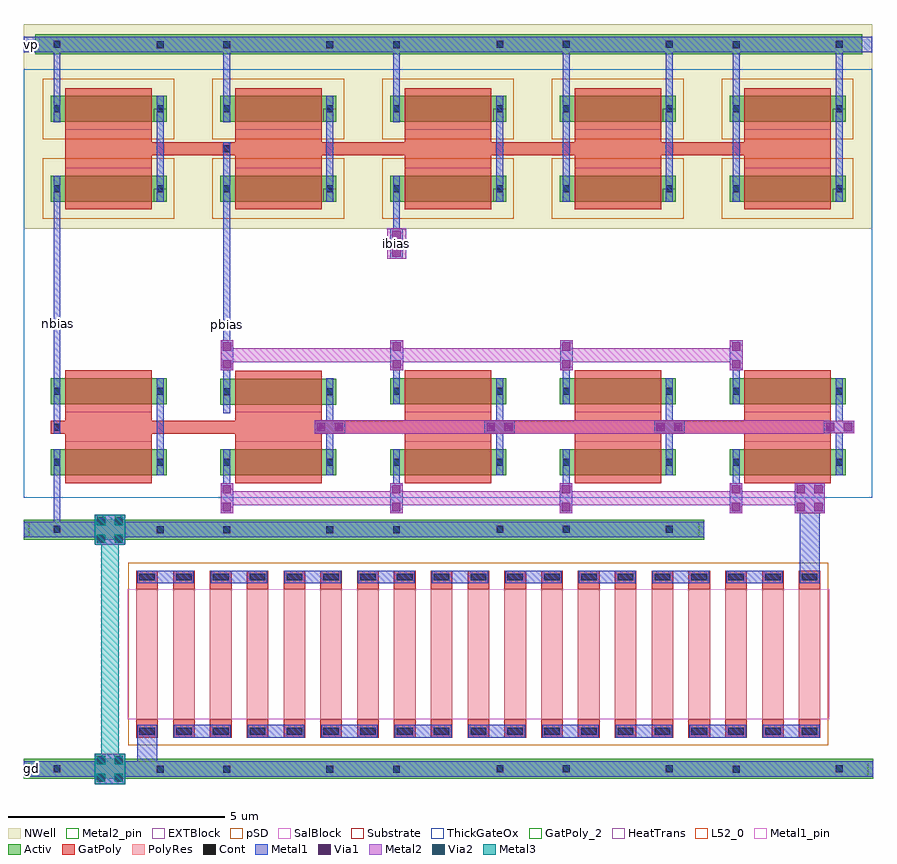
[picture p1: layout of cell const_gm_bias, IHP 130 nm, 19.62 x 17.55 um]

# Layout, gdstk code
import gdstk
lib = gdstk.Library(unit=1e-6, precision=1e-09)
def R(c, l, rs):  # rectangles x0, y0, x1, y1
    for r in rs: c.add(gdstk.rectangle(r[:2], r[2:], *l))
def A(c, l, x, y, w, h, nx, ny, dx, dy):  # array of equal rectangles
    R(c, l, [(x+i*dx, y+j*dy, x+i*dx+w, y+j*dy+h) for i in range(nx) for j in range(ny)])
Activ = (1, 0)
GatPoly = (5, 0)
GatPoly_2 = (5, 2)
Cont = (6, 0)
Metal1 = (8, 0)
Metal1_pin = (8, 2)
Metal2 = (10, 0)
Metal2_pin = (10, 2)
pSD = (14, 0)
Via1 = (19, 0)
SalBlock = (28, 0)
Via2 = (29, 0)
Metal3 = (30, 0)
NWell = (31, 0)
Substrate = (40, 0)
ThickGateOx = (44, 0)
HeatTrans = (51, 0)
L52_0 = (52, 0)
EXTBlock = (111, 0)
PolyRes = (128, 0)

via_stack_2_1 = lib.new_cell('via_stack$2$1')
R(via_stack_2_1, Metal1, [(-0.35,-0.35,0.35,0.35)])
R(via_stack_2_1, Metal2, [(-0.35,-0.35,0.35,0.35)])
R(via_stack_2_1, Via1, [(-0.3,-0.3,-0.11,-0.11), (0.11,-0.3,0.3,-0.11), (-0.3,0.11,-0.11,0.3), (0.11,0.11,0.3,0.3)])
R(via_stack_2_1, Via2, [(-0.3,-0.3,-0.11,-0.11), (0.11,-0.3,0.3,-0.11), (-0.3,0.11,-0.11,0.3), (0.11,0.11,0.3,0.3)])
R(via_stack_2_1, Metal3, [(-0.35,-0.35,0.35,0.35)])

rppd_2 = lib.new_cell('rppd$2')
A(rppd_2, GatPoly, 0, -0.43, 0.5, 0.23, 19, 2, 0.85, 3.63)
A(rppd_2, GatPoly, 0, -0.2, 0.5, 0.2, 19, 2, 0.85, 3.2)
A(rppd_2, Cont, 0.07, -0.36, 0.36, 0.16, 19, 2, 0.85, 3.56)
A(rppd_2, Metal1, 0.02, -0.43, 0.46, 0.3, 19, 2, 0.85, 3.56)
A(rppd_2, Metal1, 0.87, -0.43, 1.31, 0.3, 9, 1, 1.7, 0)
A(rppd_2, Metal1, 0.02, 3.13, 1.31, 0.3, 9, 1, 1.7, 0)
A(rppd_2, Metal1_pin, 0.02, -0.43, 0.46, 0.3, 19, 2, 0.85, 3.56)
A(rppd_2, pSD, -0.18, -0.61, 0.86, 0.61, 19, 2, 0.85, 3.61)
A(rppd_2, pSD, -0.18, 0, 0.86, 3, 19, 1, 0.85, 0)
A(rppd_2, SalBlock, -0.2, 0, 0.9, 3, 19, 1, 0.85, 0)
A(rppd_2, L52_0, 0, 0, 0.5, 3, 19, 1, 0.85, 0)
A(rppd_2, EXTBlock, -0.18, -0.61, 0.86, 0.61, 19, 2, 0.85, 3.61)
A(rppd_2, EXTBlock, -0.2, 0, 0.9, 3, 19, 1, 0.85, 0)
A(rppd_2, PolyRes, 0, 0, 0.5, 3, 19, 1, 0.85, 0)
rppd_2.add(gdstk.Label('rppd r=1681.502', (0.25,1.5), layer=63, texttype=0))
rppd_2.add(gdstk.Label('rppd r=1681.502', (0.25,1.5), layer=63, texttype=0))
rppd_2.add(gdstk.Label('rppd r=1681.502', (0.25,1.5), layer=63, texttype=0))
rppd_2.add(gdstk.Label('rppd r=1681.502', (0.25,1.5), layer=63, texttype=0))
rppd_2.add(gdstk.Label('rppd r=1681.502', (0.25,1.5), layer=63, texttype=0))
rppd_2.add(gdstk.Label('rppd r=1681.502', (0.25,1.5), layer=63, texttype=0))
rppd_2.add(gdstk.Label('rppd r=1681.502', (0.25,1.5), layer=63, texttype=0))
rppd_2.add(gdstk.Label('rppd r=1681.502', (0.25,1.5), layer=63, texttype=0))
rppd_2.add(gdstk.Label('rppd r=1681.502', (0.25,1.5), layer=63, texttype=0))
rppd_2.add(gdstk.Label('rppd r=1681.502', (0.25,1.5), layer=63, texttype=0))
rppd_2.add(gdstk.Label('rppd r=1681.502', (0.25,1.5), layer=63, texttype=0))
rppd_2.add(gdstk.Label('rppd r=1681.502', (0.25,1.5), layer=63, texttype=0))
rppd_2.add(gdstk.Label('rppd r=1681.502', (0.25,1.5), layer=63, texttype=0))
rppd_2.add(gdstk.Label('rppd r=1681.502', (0.25,1.5), layer=63, texttype=0))
rppd_2.add(gdstk.Label('rppd r=1681.502', (0.25,1.5), layer=63, texttype=0))
rppd_2.add(gdstk.Label('rppd r=1681.502', (0.25,1.5), layer=63, texttype=0))
rppd_2.add(gdstk.Label('rppd r=1681.502', (0.25,1.5), layer=63, texttype=0))
rppd_2.add(gdstk.Label('rppd r=1681.502', (0.25,1.5), layer=63, texttype=0))
rppd_2.add(gdstk.Label('rppd r=1681.502', (0.25,1.5), layer=63, texttype=0))
rppd_2.add(gdstk.Label('rppd', (0.25,1.5), layer=52, texttype=0))
rppd_2.add(gdstk.Label('rppd', (1.1,1.5), layer=52, texttype=0))
rppd_2.add(gdstk.Label('rppd', (1.95,1.5), layer=52, texttype=0))
rppd_2.add(gdstk.Label('rppd', (2.8,1.5), layer=52, texttype=0))
rppd_2.add(gdstk.Label('rppd', (3.65,1.5), layer=52, texttype=0))
rppd_2.add(gdstk.Label('rppd', (4.5,1.5), layer=52, texttype=0))
rppd_2.add(gdstk.Label('rppd', (5.35,1.5), layer=52, texttype=0))
rppd_2.add(gdstk.Label('rppd', (6.2,1.5), layer=52, texttype=0))
rppd_2.add(gdstk.Label('rppd', (7.05,1.5), layer=52, texttype=0))
rppd_2.add(gdstk.Label('rppd', (7.9,1.5), layer=52, texttype=0))
rppd_2.add(gdstk.Label('rppd', (8.75,1.5), layer=52, texttype=0))
rppd_2.add(gdstk.Label('rppd', (9.6,1.5), layer=52, texttype=0))
rppd_2.add(gdstk.Label('rppd', (10.45,1.5), layer=52, texttype=0))
rppd_2.add(gdstk.Label('rppd', (11.3,1.5), layer=52, texttype=0))
rppd_2.add(gdstk.Label('rppd', (12.15,1.5), layer=52, texttype=0))
rppd_2.add(gdstk.Label('rppd', (13,1.5), layer=52, texttype=0))
rppd_2.add(gdstk.Label('rppd', (13.85,1.5), layer=52, texttype=0))
rppd_2.add(gdstk.Label('rppd', (14.7,1.5), layer=52, texttype=0))
rppd_2.add(gdstk.Label('rppd', (15.55,1.5), layer=52, texttype=0))

via_stack_4 = lib.new_cell('via_stack$4')
R(via_stack_4, Metal1, [(-0.145,-0.35,0.145,0.35)])
R(via_stack_4, Metal2, [(-0.145,-0.35,0.145,0.35)])
R(via_stack_4, Via1, [(-0.095,-0.3,0.095,-0.11), (-0.095,0.11,0.095,0.3)])

pmoshv_1 = lib.new_cell('pmosHV$1')
R(pmoshv_1, Activ, [(0,0,0.3,0.3), (0,0,2.68,0.6), (2.38,0,2.68,0.3)])
R(pmoshv_1, GatPoly, [(0.34,-0.18,2.34,0.78)])
R(pmoshv_1, GatPoly_2, [(0.34,-0.18,2.34,0.78)])
R(pmoshv_1, Cont, [(0.07,0.22,0.23,0.38), (2.45,0.22,2.61,0.38)])
R(pmoshv_1, Metal1, [(0.07,0,0.23,0.6), (2.45,0,2.61,0.6)])
R(pmoshv_1, Metal1_pin, [(0.07,0,0.23,0.6), (2.45,0,2.61,0.6)])
R(pmoshv_1, pSD, [(-0.18,-0.4,2.86,1)])
R(pmoshv_1, NWell, [(-0.62,-0.62,3.3,1.22)])
R(pmoshv_1, Substrate, [(2.38,0,2.68,0.3)])
R(pmoshv_1, ThickGateOx, [(-0.62,-0.62,3.3,1.22)])
R(pmoshv_1, HeatTrans, [(0.34,-0.18,2.34,0.78)])
pmoshv_1.add(gdstk.Label('pmosHV', (1.34,0.3), layer=63, texttype=0))
pmoshv_1.add(gdstk.Label('pmos', (1.34,0.3), layer=51, texttype=0))

nmoshv_1_1 = lib.new_cell('nmosHV$1$1')
R(nmoshv_1_1, Activ, [(0,0,0.3,0.3), (0,0,2.68,0.6), (2.38,0,2.68,0.3)])
R(nmoshv_1_1, GatPoly, [(0.34,-0.18,2.34,0.78)])
R(nmoshv_1_1, GatPoly_2, [(0.34,-0.18,2.34,0.78)])
R(nmoshv_1_1, Cont, [(0.07,0.22,0.23,0.38), (2.45,0.22,2.61,0.38)])
R(nmoshv_1_1, Metal1, [(0.07,0,0.23,0.6), (2.45,0,2.61,0.6)])
R(nmoshv_1_1, Metal1_pin, [(0.07,0,0.23,0.6), (2.45,0,2.61,0.6)])
R(nmoshv_1_1, ThickGateOx, [(-0.27,-0.52,2.95,1.12)])
R(nmoshv_1_1, HeatTrans, [(0.34,-0.18,2.34,0.78)])
nmoshv_1_1.add(gdstk.Label('nmosHV', (1.34,0.3), layer=63, texttype=0))
nmoshv_1_1.add(gdstk.Label('nmosHV', (1.34,0.3), layer=51, texttype=0))

nmoshv_1 = lib.new_cell('nmosHV$1')
R(nmoshv_1, Activ, [(0,0,0.3,0.3), (0,0,2.68,0.6), (2.38,0,2.68,0.3)])
R(nmoshv_1, GatPoly, [(0.34,-0.18,2.34,0.78)])
R(nmoshv_1, GatPoly_2, [(0.34,-0.18,2.34,0.78)])
R(nmoshv_1, Cont, [(0.07,0.22,0.23,0.38), (2.45,0.22,2.61,0.38)])
R(nmoshv_1, Metal1, [(0.07,0,0.23,0.6), (2.45,0,2.61,0.6)])
R(nmoshv_1, Metal1_pin, [(0.07,0,0.23,0.6), (2.45,0,2.61,0.6)])
R(nmoshv_1, ThickGateOx, [(-0.27,-0.52,2.95,1.12)])
R(nmoshv_1, HeatTrans, [(0.34,-0.18,2.34,0.78)])
nmoshv_1.add(gdstk.Label('nmosHV', (1.34,0.3), layer=63, texttype=0))
nmoshv_1.add(gdstk.Label('nmosHV', (1.34,0.3), layer=51, texttype=0))

via_stack_1_1 = lib.new_cell('via_stack$1$1')
R(via_stack_1_1, Metal1, [(-0.35,-0.35,0.35,0.35)])
R(via_stack_1_1, Metal2, [(-0.35,-0.35,0.35,0.35)])
R(via_stack_1_1, Via1, [(-0.3,-0.3,-0.11,-0.11), (0.11,-0.3,0.3,-0.11), (-0.3,0.11,-0.11,0.3), (0.11,0.11,0.3,0.3)])

via_stack_4_1 = lib.new_cell('via_stack$4$1')
R(via_stack_4_1, Metal1, [(-0.35,-0.145,0.35,0.145)])
R(via_stack_4_1, Metal2, [(-0.35,-0.145,0.35,0.145)])
R(via_stack_4_1, Via1, [(-0.3,-0.095,-0.11,0.095), (0.11,-0.095,0.3,0.095)])

const_gm_bias = lib.new_cell('const_gm_bias')
R(const_gm_bias, Cont, [(3.07,0.18,3.23,0.34), (8.53,0.18,8.69,0.34), (4.61,0.185,4.77,0.345), (6.99,0.185,7.15,0.345), (16.37,0.185,16.53,0.345), (0.69,0.19,0.85,0.35), (10.92,0.19,11.08,0.35), (12.45,0.19,12.61,0.35), (14.83,0.19,14.99,0.35), (18.75,0.19,18.91,0.35), (3.07,5.71,3.23,5.87), (8.53,5.71,8.69,5.87), (4.61,5.715,4.77,5.875), (6.99,5.715,7.15,5.875), (0.69,5.72,0.85,5.88), (10.92,5.72,11.08,5.88), (12.45,5.72,12.61,5.88), (14.83,5.72,14.99,5.88), (0.69,8.08,0.85,8.24), (4.61,14.505,4.77,14.665), (3.07,16.91,3.23,17.07), (8.53,16.91,8.69,17.07), (4.61,16.915,4.77,17.075), (6.99,16.915,7.15,17.075), (16.37,16.915,16.53,17.075), (0.69,16.92,0.85,17.08), (10.92,16.92,11.08,17.08), (12.45,16.92,12.61,17.08), (14.83,16.92,14.99,17.08), (18.75,16.92,18.91,17.08)])
R(const_gm_bias, Metal1_pin, [(0,0.09,0.36,0.45), (0,16.82,0.36,17.18)])
R(const_gm_bias, Metal2, [(8.39,12.045,8.83,12.745)])
R(const_gm_bias, Metal2_pin, [(8.39,12.045,8.83,12.745)])
R(const_gm_bias, NWell, [(0,12.745,19.6,17.47)])
R(const_gm_bias, ThickGateOx, [(0,6.53,19.6,16.43)])
const_gm_bias.add(gdstk.FlexPath([(7.07,7.05),(7.07,9.29)], 0.16, ends="flush", simple_path=True, layer=8, datatype=0))  # Metal1
const_gm_bias.add(gdstk.FlexPath([(10.99,7.05),(10.99,9.29)], 0.16, ends="flush", simple_path=True, layer=8, datatype=0))  # Metal1
const_gm_bias.add(gdstk.FlexPath([(4.69,7.05),(4.69,6.52)], 0.16, ends="flush", simple_path=True, layer=8, datatype=0))  # Metal1
const_gm_bias.add(gdstk.FlexPath([(8.61,7.05),(8.61,6.52)], 0.16, ends="flush", simple_path=True, layer=8, datatype=0))  # Metal1
const_gm_bias.add(gdstk.FlexPath([(12.53,7.05),(12.53,6.52)], 0.16, ends="flush", simple_path=True, layer=8, datatype=0))  # Metal1
const_gm_bias.add(gdstk.FlexPath([(18.15,4.85),(18.15,6.52)], 0.46, ends="flush", simple_path=True, layer=8, datatype=0))  # Metal1
const_gm_bias.add(gdstk.FlexPath([(14.91,7.05),(14.91,9.29)], 0.16, ends="flush", simple_path=True, layer=8, datatype=0))  # Metal1
const_gm_bias.add(gdstk.FlexPath([(16.45,7.05),(16.45,6.52)], 0.16, ends="flush", simple_path=True, layer=8, datatype=0))  # Metal1
const_gm_bias.add(gdstk.FlexPath([(18.83,7.05),(18.83,9.29)], 0.16, ends="flush", simple_path=True, layer=8, datatype=0))  # Metal1
const_gm_bias.add(gdstk.FlexPath([(0,5.795),(15.72,5.795)], 0.36, ends="flush", simple_path=True, layer=8, datatype=0))  # Metal1
const_gm_bias.add(gdstk.FlexPath([(8.61,9.29),(8.61,10.17)], 0.16, ends="flush", simple_path=True, layer=8, datatype=0))  # Metal1
const_gm_bias.add(gdstk.FlexPath([(12.53,9.29),(12.53,10.17)], 0.16, ends="flush", simple_path=True, layer=8, datatype=0))  # Metal1
const_gm_bias.add(gdstk.FlexPath([(16.45,9.29),(16.45,10.17)], 0.16, ends="flush", simple_path=True, layer=8, datatype=0))  # Metal1
const_gm_bias.add(gdstk.FlexPath([(3.15,7.65),(3.15,8.69)], 0.16, ends="flush", simple_path=True, layer=8, datatype=0))  # Metal1
const_gm_bias.add(gdstk.FlexPath([(0.77,7.35),(0.77,5.795)], 0.16, ends="flush", simple_path=True, layer=8, datatype=0))  # Metal1
const_gm_bias.add(gdstk.FlexPath([(0.77,8.01),(0.77,13.97)], 0.16, ends="flush", simple_path=True, layer=8, datatype=0))  # Metal1
const_gm_bias.add(gdstk.FlexPath([(14.91,17.18),(14.91,13.965)], 0.16, ends="flush", simple_path=True, layer=8, datatype=0))  # Metal1
const_gm_bias.add(gdstk.FlexPath([(18.83,17.18),(18.83,13.965)], 0.16, ends="flush", simple_path=True, layer=8, datatype=0))  # Metal1
const_gm_bias.add(gdstk.FlexPath([(8.61,13.37),(8.61,12.18)], 0.16, ends="flush", simple_path=True, layer=8, datatype=0))  # Metal1
const_gm_bias.add(gdstk.FlexPath([(7.07,15.21),(7.07,13.97)], 0.16, ends="flush", simple_path=True, layer=8, datatype=0))  # Metal1
const_gm_bias.add(gdstk.FlexPath([(3.15,15.21),(3.15,13.97)], 0.16, ends="flush", simple_path=True, layer=8, datatype=0))  # Metal1
const_gm_bias.add(gdstk.FlexPath([(10.99,15.21),(10.99,13.97)], 0.16, ends="flush", simple_path=True, layer=8, datatype=0))  # Metal1
const_gm_bias.add(gdstk.FlexPath([(0,17),(19.6,17)], 0.36, ends="flush", simple_path=True, layer=8, datatype=0))  # Metal1
const_gm_bias.add(gdstk.FlexPath([(0.77,15.205),(0.77,17.18)], 0.16, ends="flush", simple_path=True, layer=8, datatype=0))  # Metal1
const_gm_bias.add(gdstk.FlexPath([(4.69,15.205),(4.69,17.18)], 0.16, ends="flush", simple_path=True, layer=8, datatype=0))  # Metal1
const_gm_bias.add(gdstk.FlexPath([(8.61,15.205),(8.61,17.18)], 0.16, ends="flush", simple_path=True, layer=8, datatype=0))  # Metal1
const_gm_bias.add(gdstk.FlexPath([(12.53,13.365),(12.53,17.18)], 0.16, ends="flush", simple_path=True, layer=8, datatype=0))  # Metal1
const_gm_bias.add(gdstk.FlexPath([(16.45,13.365),(16.45,17.18)], 0.16, ends="flush", simple_path=True, layer=8, datatype=0))  # Metal1
const_gm_bias.add(gdstk.FlexPath([(4.69,13.965),(4.69,14.735)], 0.16, ends="flush", simple_path=True, layer=8, datatype=0))  # Metal1
const_gm_bias.add(gdstk.FlexPath([(4.69,8.48),(4.69,13.97)], 0.16, ends="flush", simple_path=True, layer=8, datatype=0))  # Metal1
const_gm_bias.add(gdstk.FlexPath([(2.85,1.14),(2.85,0.27)], 0.46, ends="flush", simple_path=True, layer=8, datatype=0))  # Metal1
const_gm_bias.add(gdstk.FlexPath([(0,0.27),(19.62,0.27)], 0.36, ends="flush", simple_path=True, layer=8, datatype=0))  # Metal1
const_gm_bias.add(gdstk.FlexPath([(18.15,6.52),(4.545,6.52)], 0.32, ends="flush", simple_path=True, layer=10, datatype=0))  # Metal2
const_gm_bias.add(gdstk.FlexPath([(18.48,8.165),(6.72,8.165)], 0.32, ends="flush", simple_path=True, layer=10, datatype=0))  # Metal2
const_gm_bias.add(gdstk.FlexPath([(4.55,9.82),(16.6,9.82)], 0.32, ends="flush", simple_path=True, layer=10, datatype=0))  # Metal2
const_gm_bias.add(gdstk.FlexPath([(1.99,0.27),(1.99,5.585)], 0.4, ends="flush", simple_path=True, layer=30, datatype=0))  # Metal3
const_gm_bias.add(gdstk.FlexPath([(1.96,8.99),(1.96,7.35)], 2, ends="flush", simple_path=True, layer=5, datatype=0))  # GatPoly
const_gm_bias.add(gdstk.FlexPath([(5.88,8.99),(5.88,7.35)], 2, ends="flush", simple_path=True, layer=5, datatype=0))  # GatPoly
const_gm_bias.add(gdstk.FlexPath([(9.8,8.99),(9.8,7.35)], 2, ends="flush", simple_path=True, layer=5, datatype=0))  # GatPoly
const_gm_bias.add(gdstk.FlexPath([(13.72,8.99),(13.72,7.35)], 2, ends="flush", simple_path=True, layer=5, datatype=0))  # GatPoly
const_gm_bias.add(gdstk.FlexPath([(17.64,8.99),(17.64,7.35)], 2, ends="flush", simple_path=True, layer=5, datatype=0))  # GatPoly
const_gm_bias.add(gdstk.FlexPath([(0.62,8.16),(16.64,8.16)], 0.3, ends="flush", simple_path=True, layer=5, datatype=0))  # GatPoly
const_gm_bias.add(gdstk.FlexPath([(1.96,15.03),(1.96,14.15)], 2, ends="flush", simple_path=True, layer=5, datatype=0))  # GatPoly
const_gm_bias.add(gdstk.FlexPath([(5.88,15.03),(5.88,14.15)], 2, ends="flush", simple_path=True, layer=5, datatype=0))  # GatPoly
const_gm_bias.add(gdstk.FlexPath([(9.8,15.03),(9.8,14.15)], 2, ends="flush", simple_path=True, layer=5, datatype=0))  # GatPoly
const_gm_bias.add(gdstk.FlexPath([(13.72,15.03),(13.72,14.15)], 2, ends="flush", simple_path=True, layer=5, datatype=0))  # GatPoly
const_gm_bias.add(gdstk.FlexPath([(17.64,15.03),(17.64,14.15)], 2, ends="flush", simple_path=True, layer=5, datatype=0))  # GatPoly
const_gm_bias.add(gdstk.FlexPath([(17.64,14.585),(1.96,14.585)], 0.3, ends="flush", simple_path=True, layer=5, datatype=0))  # GatPoly
const_gm_bias.add(gdstk.FlexPath([(15.6,5.795),(0.12,5.795)], 0.36, ends="flush", simple_path=True, layer=14, datatype=0))  # pSD
const_gm_bias.add(gdstk.FlexPath([(19.5,0.27),(0.12,0.27)], 0.36, ends="flush", simple_path=True, layer=14, datatype=0))  # pSD
const_gm_bias.add(gdstk.FlexPath([(0,5.795),(15.72,5.795)], 0.46, ends="flush", simple_path=True, layer=1, datatype=0))  # Activ
const_gm_bias.add(gdstk.FlexPath([(0.27,17),(19.36,17)], 0.46, ends="flush", simple_path=True, layer=1, datatype=0))  # Activ
const_gm_bias.add(gdstk.FlexPath([(0,0.27),(19.62,0.27)], 0.46, ends="flush", simple_path=True, layer=1, datatype=0))  # Activ
const_gm_bias.add(gdstk.Reference(via_stack_2_1, (1.99,0.27)))
const_gm_bias.add(gdstk.Reference(rppd_2, (2.6,1.42)))
const_gm_bias.add(gdstk.Reference(via_stack_4, (8.61,12.4)))
const_gm_bias.add(gdstk.Reference(pmoshv_1, (0.62,13.37)))
const_gm_bias.add(gdstk.Reference(pmoshv_1, (4.54,13.37)))
const_gm_bias.add(gdstk.Reference(pmoshv_1, (8.46,15.21)))
const_gm_bias.add(gdstk.Reference(pmoshv_1, (4.54,15.21)))
const_gm_bias.add(gdstk.Reference(pmoshv_1, (8.46,13.37)))
const_gm_bias.add(gdstk.Reference(pmoshv_1, (12.38,15.21)))
const_gm_bias.add(gdstk.Reference(pmoshv_1, (12.38,13.37)))
const_gm_bias.add(gdstk.Reference(pmoshv_1, (16.3,15.21)))
const_gm_bias.add(gdstk.Reference(pmoshv_1, (0.62,15.21)))
const_gm_bias.add(gdstk.Reference(pmoshv_1, (16.3,13.37)))
const_gm_bias.add(gdstk.Reference(nmoshv_1_1, (16.3,8.69)))
const_gm_bias.add(gdstk.Reference(nmoshv_1, (0.62,8.69)))
const_gm_bias.add(gdstk.Reference(nmoshv_1_1, (8.46,8.69)))
const_gm_bias.add(gdstk.Reference(nmoshv_1_1, (4.54,8.68)))
const_gm_bias.add(gdstk.Reference(nmoshv_1_1, (16.3,7.05)))
const_gm_bias.add(gdstk.Reference(nmoshv_1_1, (12.38,7.05)))
const_gm_bias.add(gdstk.Reference(nmoshv_1_1, (4.54,7.05)))
const_gm_bias.add(gdstk.Reference(via_stack_4, (4.69,6.52)))
const_gm_bias.add(gdstk.Reference(nmoshv_1_1, (8.46,7.05)))
const_gm_bias.add(gdstk.Reference(via_stack_4, (12.525,6.52)))
const_gm_bias.add(gdstk.Reference(via_stack_4, (12.53,9.82)))
const_gm_bias.add(gdstk.Reference(via_stack_4, (16.455,9.82)))
const_gm_bias.add(gdstk.Reference(via_stack_4, (8.615,9.82)))
const_gm_bias.add(gdstk.Reference(via_stack_1_1, (18.15,6.52)))
const_gm_bias.add(gdstk.Reference(via_stack_4, (4.695,9.82)))
const_gm_bias.add(gdstk.Reference(nmoshv_1, (0.62,7.05)))
const_gm_bias.add(gdstk.Reference(nmoshv_1_1, (12.38,8.69)))
const_gm_bias.add(gdstk.Reference(via_stack_2_1, (1.99,5.79)))
const_gm_bias.add(gdstk.Reference(via_stack_4, (8.605,6.52)))
const_gm_bias.add(gdstk.Reference(via_stack_4_1, (7.07,8.165)))
const_gm_bias.add(gdstk.Reference(via_stack_4_1, (10.99,8.165)))
const_gm_bias.add(gdstk.Reference(via_stack_4_1, (14.91,8.165)))
const_gm_bias.add(gdstk.Reference(via_stack_4_1, (18.83,8.165)))
const_gm_bias.add(gdstk.Reference(via_stack_4, (16.45,6.52)))
const_gm_bias.add(gdstk.Label('pbias', (4.69,10.54), layer=8, texttype=25))
const_gm_bias.add(gdstk.Label('nbias', (0.77,10.55), layer=8, texttype=25))
const_gm_bias.add(gdstk.Label('vp', (0.18,17), layer=8, texttype=25))
const_gm_bias.add(gdstk.Label('gd', (0.18,0.27), layer=8, texttype=25))
const_gm_bias.add(gdstk.Label('ibias', (8.61,12.395), layer=10, texttype=25))

lib.write_gds('const_gm_bias.gds')
